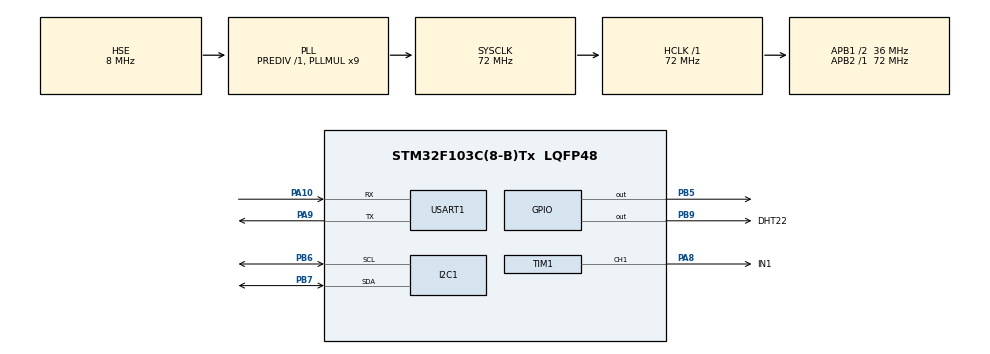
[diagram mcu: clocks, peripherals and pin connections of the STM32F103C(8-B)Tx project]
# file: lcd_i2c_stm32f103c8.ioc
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Mcu.Family=STM32F1
Mcu.Name=STM32F103C(8-B)Tx
Mcu.Package=LQFP48
NVIC.PriorityGroup=NVIC_PRIORITYGROUP_4
PA10.Mode=Asynchronous
PA10.Signal=USART1_RX
PA13.Mode=Serial_Wire
PA13.Signal=SYS_JTMS-SWDIO
PA14.Mode=Serial_Wire
PA14.Signal=SYS_JTCK-SWCLK
PA8.GPIO_Label=IN1
PA8.Signal=S_TIM1_CH1
PA9.Mode=Asynchronous
PA9.Signal=USART1_TX
PB5.Signal=GPIO_Output
PB6.GPIO_Mode=GPIO_MODE_AF_OD
PB6.Mode=I2C
PB6.Signal=I2C1_SCL
PB7.GPIO_Mode=GPIO_MODE_AF_OD
PB7.GPIO_Speed=GPIO_SPEED_FREQ_HIGH
PB7.Mode=I2C
PB7.Signal=I2C1_SDA
PB9.GPIO_Label=DHT22
PB9.Signal=GPIO_Output
PD0-OSC_IN.Mode=HSE-External-Oscillator
PD0-OSC_IN.Signal=RCC_OSC_IN
PD1-OSC_OUT.Mode=HSE-External-Oscillator
PD1-OSC_OUT.Signal=RCC_OSC_OUT
ProjectManager.HeapSize=0x200
ProjectManager.StackSize=0x400
ProjectManager.TargetToolchain=MDK-ARM V5
RCC.ADCPresc=RCC_ADCPCLK2_DIV6
RCC.AHBFreq_Value=72000000
RCC.APB1CLKDivider=RCC_HCLK_DIV2
RCC.APB1Freq_Value=36000000
RCC.APB1TimFreq_Value=72000000
RCC.APB2Freq_Value=72000000
RCC.APB2TimFreq_Value=72000000
RCC.HCLKFreq_Value=72000000
RCC.PLLMUL=RCC_PLL_MUL9
RCC.PLLSourceVirtual=RCC_PLLSOURCE_HSE
RCC.SYSCLKFreq_VALUE=72000000
RCC.SYSCLKSource=RCC_SYSCLKSOURCE_PLLCLK
RCC.USBFreq_Value=72000000
SH.S_TIM1_CH1.0=TIM1_CH1,PWM Generation1 CH1
TIM1.Channel-PWM\ Generation1\ CH1=TIM_CHANNEL_1
TIM1.Period=999
TIM1.Prescaler=79
TIM1.Pulse-PWM\ Generation1\ CH1=199
TIM2.Prescaler=71
USART1.VirtualMode=VM_ASYNC
VP_TIM1_VS_ClockSourceINT.Mode=Internal
VP_TIM2_VS_ClockSourceINT.Mode=Internal
board=custom

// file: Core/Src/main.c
/* USER CODE BEGIN Header */
/**
  ******************************************************************************
  * @file           : main.c
  * @brief          : Main program body
  ******************************************************************************
  * @attention
  *
  * Copyright (c) 2024 STMicroelectronics.
  * All rights reserved.
  *
  * This software is licensed under terms that can be found in the LICENSE file
  * in the root directory of this software component.
  * If no LICENSE file comes with this software, it is provided AS-IS.
  *
  ******************************************************************************
  */
/* USER CODE END Header */
#include "main.h"
#include "i2c-lcd.h"
#include "stm32f1xx.h"
#include "string.h"
#include "stdio.h"

I2C_HandleTypeDef hi2c1;

TIM_HandleTypeDef htim1;
TIM_HandleTypeDef htim2;

UART_HandleTypeDef huart1;
uint8_t RH1, RH2, TC1, TC2, SUM, CHECK;
uint32_t pMillis, cMillis;
float tCelsius = 0;
float tFahrenheit = 0;
float RH = 0;

void SystemClock_Config(void);
static void MX_GPIO_Init(void);
static void MX_I2C1_Init(void);
static void MX_TIM1_Init(void);
static void MX_USART1_UART_Init(void);
static void MX_TIM2_Init(void);

/* USER CODE BEGIN 0 */
void microDelay (uint16_t delay)
{
  __HAL_TIM_SET_COUNTER(&htim2, 0);
  while (__HAL_TIM_GET_COUNTER(&htim2) < delay);
}

// Khoi tao giao tiep voi DHT22
uint8_t DHT22_Start (void)
{
  uint8_t Response = 0;
  GPIO_InitTypeDef GPIO_InitStructPrivate = {0};
  GPIO_InitStructPrivate.Pin = DHT22_Pin;
  GPIO_InitStructPrivate.Mode = GPIO_MODE_OUTPUT_PP;
  GPIO_InitStructPrivate.Speed = GPIO_SPEED_FREQ_LOW;
  GPIO_InitStructPrivate.Pull = GPIO_NOPULL;
  HAL_GPIO_Init(DHT22_GPIO_Port, &GPIO_InitStructPrivate); // set the pin as output
  HAL_GPIO_WritePin (DHT22_GPIO_Port, DHT22_Pin, GPIO_PIN_RESET);   // pull the pin low
  microDelay (1800);   // wait for 1300us
  HAL_GPIO_WritePin (DHT22_GPIO_Port, DHT22_Pin, GPIO_PIN_SET);   // pull the pin high
  microDelay (30);   // wait for 30us
  GPIO_InitStructPrivate.Mode = GPIO_MODE_INPUT;
  GPIO_InitStructPrivate.Pull = GPIO_PULLUP;
  HAL_GPIO_Init(DHT22_GPIO_Port, &GPIO_InitStructPrivate); // set the pin as input
  microDelay (40);
  if (!(HAL_GPIO_ReadPin (DHT22_GPIO_Port, DHT22_Pin)))
  {
    microDelay (80);
    if ((HAL_GPIO_ReadPin (DHT22_GPIO_Port, DHT22_Pin))) Response = 1;
  }
  pMillis = HAL_GetTick();
  cMillis = HAL_GetTick();
  while ((HAL_GPIO_ReadPin (DHT22_GPIO_Port, DHT22_Pin)) && pMillis + 2 > cMillis)
  {
    cMillis = HAL_GetTick();
  }
  return Response;
}

uint8_t DHT22_Read (void)
{
  uint8_t a,b;
  for (a=0;a<8;a++)
  {
    pMillis = HAL_GetTick();
    cMillis = HAL_GetTick();
    while (!(HAL_GPIO_ReadPin (DHT22_GPIO_Port, DHT22_Pin)) && pMillis + 2 > cMillis)
    {  // wait for the pin to go high
      cMillis = HAL_GetTick();
    }
    microDelay (40);   // wait for 40 us
    if (!(HAL_GPIO_ReadPin (DHT22_GPIO_Port, DHT22_Pin)))   // if the pin is low
      b&= ~(1<<(7-a));
    else
      b|= (1<<(7-a));
    pMillis = HAL_GetTick();
    cMillis = HAL_GetTick();
    while ((HAL_GPIO_ReadPin (DHT22_GPIO_Port, DHT22_Pin)) && pMillis + 2 > cMillis)
    {  // wait for the pin to go low
      cMillis = HAL_GetTick();
    }
  }
  return b;
}

/* USER CODE END 0 */

int main(void)
{
	char buffer[50];

  /* MCU Configuration--------------------------------------------------------*/

  /* Reset of all peripherals, Initializes the Flash interface and the Systick. */
  HAL_Init();

  /* Configure the system clock */
  SystemClock_Config();

  /* Initialize all configured peripherals */
  MX_GPIO_Init();
  MX_I2C1_Init();
  MX_TIM1_Init();
  MX_USART1_UART_Init();
  MX_TIM2_Init();

	HAL_TIM_Base_Start(&htim2);
	HAL_TIM_PWM_Start(&htim1, TIM_CHANNEL_1);
  /* USER CODE BEGIN 2 */
	lcd_init();
  /* USER CODE END 2 */

  /* Infinite loop */
  while (1)
  {
		if(DHT22_Start())
    {
      RH1 = DHT22_Read(); // First 8bits of humidity
      RH2 = DHT22_Read(); // Second 8bits of Relative humidity
      TC1 = DHT22_Read(); // First 8bits of Celsius
      TC2 = DHT22_Read(); // Second 8bits of Celsius
      SUM = DHT22_Read(); // Check sum
      CHECK = RH1 + RH2 + TC1 + TC2;
      if (CHECK == SUM)
      {
        if (TC1>127) // If TC1=10000000, negative temperature
        {
          tCelsius = (float)TC2/10*(-1);
        }
        else
        {
          tCelsius = (float)((TC1<<8)|TC2)/10;
        }
        tFahrenheit = tCelsius * 9/5 + 32;
        RH = (float) ((RH1<<8)|RH2)/10;
      }
			if(tCelsius > 30){
				HAL_GPIO_WritePin(GPIOB, GPIO_PIN_5,GPIO_PIN_SET);
			}else{
				HAL_GPIO_WritePin(GPIOB, GPIO_PIN_5,GPIO_PIN_RESET);
			}
			if(tCelsius >30){
				__HAL_TIM_SET_COMPARE(&htim1,TIM_CHANNEL_1,899);
			}else if(tCelsius > 28){
				__HAL_TIM_SET_COMPARE(&htim1,TIM_CHANNEL_1,699);
			}else if(tCelsius > 20){
				__HAL_TIM_SET_COMPARE(&htim1,TIM_CHANNEL_1,499);
			}
			sprintf(buffer, "Temp: %.2f", tCelsius);
			HAL_UART_Transmit(&huart1, (uint8_t *)buffer, strlen(buffer), HAL_MAX_DELAY);
			lcd_put_cur(0,0);
			lcd_send_string(buffer);
			sprintf(buffer, "Hum: %.2f", RH);
			HAL_UART_Transmit(&huart1, (uint8_t *)buffer, strlen(buffer), HAL_MAX_DELAY);
			lcd_put_cur(1,0);
			lcd_send_string(buffer);
    }

		HAL_Delay(100);
  }
}

void SystemClock_Config(void)
{
  RCC_OscInitTypeDef RCC_OscInitStruct = {0};
  RCC_ClkInitTypeDef RCC_ClkInitStruct = {0};

  /** Initializes the RCC Oscillators according to the specified parameters
  * in the RCC_OscInitTypeDef structure.
  */
  RCC_OscInitStruct.OscillatorType = RCC_OSCILLATORTYPE_HSE;
  RCC_OscInitStruct.HSEState = RCC_HSE_ON;
  RCC_OscInitStruct.HSEPredivValue = RCC_HSE_PREDIV_DIV1;
  RCC_OscInitStruct.HSIState = RCC_HSI_ON;
  RCC_OscInitStruct.PLL.PLLState = RCC_PLL_ON;
  RCC_OscInitStruct.PLL.PLLSource = RCC_PLLSOURCE_HSE;
  RCC_OscInitStruct.PLL.PLLMUL = RCC_PLL_MUL9;
  if (HAL_RCC_OscConfig(&RCC_OscInitStruct) != HAL_OK)
  {
    Error_Handler();
  }

  /** Initializes the CPU, AHB and APB buses clocks
  */
  RCC_ClkInitStruct.ClockType = RCC_CLOCKTYPE_HCLK|RCC_CLOCKTYPE_SYSCLK
                              |RCC_CLOCKTYPE_PCLK1|RCC_CLOCKTYPE_PCLK2;
  RCC_ClkInitStruct.SYSCLKSource = RCC_SYSCLKSOURCE_PLLCLK;
  RCC_ClkInitStruct.AHBCLKDivider = RCC_SYSCLK_DIV1;
  RCC_ClkInitStruct.APB1CLKDivider = RCC_HCLK_DIV2;
  RCC_ClkInitStruct.APB2CLKDivider = RCC_HCLK_DIV1;

  if (HAL_RCC_ClockConfig(&RCC_ClkInitStruct, FLASH_LATENCY_2) != HAL_OK)
  {
    Error_Handler();
  }
}

static void MX_I2C1_Init(void)
{

  hi2c1.Instance = I2C1;
  hi2c1.Init.ClockSpeed = 100000;
  hi2c1.Init.DutyCycle = I2C_DUTYCYCLE_2;
  hi2c1.Init.OwnAddress1 = 0;
  hi2c1.Init.AddressingMode = I2C_ADDRESSINGMODE_7BIT;
  hi2c1.Init.DualAddressMode = I2C_DUALADDRESS_DISABLE;
  hi2c1.Init.OwnAddress2 = 0;
  hi2c1.Init.GeneralCallMode = I2C_GENERALCALL_DISABLE;
  hi2c1.Init.NoStretchMode = I2C_NOSTRETCH_DISABLE;
  if (HAL_I2C_Init(&hi2c1) != HAL_OK)
  {
    Error_Handler();
  }

}

static void MX_TIM1_Init(void)
{

  TIM_ClockConfigTypeDef sClockSourceConfig = {0};
  TIM_MasterConfigTypeDef sMasterConfig = {0};
  TIM_OC_InitTypeDef sConfigOC = {0};
  TIM_BreakDeadTimeConfigTypeDef sBreakDeadTimeConfig = {0};

  htim1.Instance = TIM1;
  htim1.Init.Prescaler = 79;
  htim1.Init.CounterMode = TIM_COUNTERMODE_UP;
  htim1.Init.Period = 999;
  htim1.Init.ClockDivision = TIM_CLOCKDIVISION_DIV1;
  htim1.Init.RepetitionCounter = 0;
  htim1.Init.AutoReloadPreload = TIM_AUTORELOAD_PRELOAD_DISABLE;
  if (HAL_TIM_Base_Init(&htim1) != HAL_OK)
  {
    Error_Handler();
  }
  sClockSourceConfig.ClockSource = TIM_CLOCKSOURCE_INTERNAL;
  if (HAL_TIM_ConfigClockSource(&htim1, &sClockSourceConfig) != HAL_OK)
  {
    Error_Handler();
  }
  if (HAL_TIM_PWM_Init(&htim1) != HAL_OK)
  {
    Error_Handler();
  }
  sMasterConfig.MasterOutputTrigger = TIM_TRGO_RESET;
  sMasterConfig.MasterSlaveMode = TIM_MASTERSLAVEMODE_DISABLE;
  if (HAL_TIMEx_MasterConfigSynchronization(&htim1, &sMasterConfig) != HAL_OK)
  {
    Error_Handler();
  }
  sConfigOC.OCMode = TIM_OCMODE_PWM1;
  sConfigOC.Pulse = 199;
  sConfigOC.OCPolarity = TIM_OCPOLARITY_HIGH;
  sConfigOC.OCNPolarity = TIM_OCNPOLARITY_HIGH;
  sConfigOC.OCFastMode = TIM_OCFAST_DISABLE;
  sConfigOC.OCIdleState = TIM_OCIDLESTATE_RESET;
  sConfigOC.OCNIdleState = TIM_OCNIDLESTATE_RESET;
  if (HAL_TIM_PWM_ConfigChannel(&htim1, &sConfigOC, TIM_CHANNEL_1) != HAL_OK)
  {
    Error_Handler();
  }
  sBreakDeadTimeConfig.OffStateRunMode = TIM_OSSR_DISABLE;
  sBreakDeadTimeConfig.OffStateIDLEMode = TIM_OSSI_DISABLE;
  sBreakDeadTimeConfig.LockLevel = TIM_LOCKLEVEL_OFF;
  sBreakDeadTimeConfig.DeadTime = 0;
  sBreakDeadTimeConfig.BreakState = TIM_BREAK_DISABLE;
  sBreakDeadTimeConfig.BreakPolarity = TIM_BREAKPOLARITY_HIGH;
  sBreakDeadTimeConfig.AutomaticOutput = TIM_AUTOMATICOUTPUT_DISABLE;
  if (HAL_TIMEx_ConfigBreakDeadTime(&htim1, &sBreakDeadTimeConfig) != HAL_OK)
  {
    Error_Handler();
  }
  HAL_TIM_MspPostInit(&htim1);

}

static void MX_TIM2_Init(void)
{

  TIM_ClockConfigTypeDef sClockSourceConfig = {0};
  TIM_MasterConfigTypeDef sMasterConfig = {0};

  htim2.Instance = TIM2;
  htim2.Init.Prescaler = 71;
  htim2.Init.CounterMode = TIM_COUNTERMODE_UP;
  htim2.Init.Period = 65535;
  htim2.Init.ClockDivision = TIM_CLOCKDIVISION_DIV1;
  htim2.Init.AutoReloadPreload = TIM_AUTORELOAD_PRELOAD_DISABLE;
  if (HAL_TIM_Base_Init(&htim2) != HAL_OK)
  {
    Error_Handler();
  }
  sClockSourceConfig.ClockSource = TIM_CLOCKSOURCE_INTERNAL;
  if (HAL_TIM_ConfigClockSource(&htim2, &sClockSourceConfig) != HAL_OK)
  {
    Error_Handler();
  }
  sMasterConfig.MasterOutputTrigger = TIM_TRGO_RESET;
  sMasterConfig.MasterSlaveMode = TIM_MASTERSLAVEMODE_DISABLE;
  if (HAL_TIMEx_MasterConfigSynchronization(&htim2, &sMasterConfig) != HAL_OK)
  {
    Error_Handler();
  }

}

static void MX_USART1_UART_Init(void)
{

  huart1.Instance = USART1;
  huart1.Init.BaudRate = 115200;
  huart1.Init.WordLength = UART_WORDLENGTH_8B;
  huart1.Init.StopBits = UART_STOPBITS_1;
  huart1.Init.Parity = UART_PARITY_NONE;
  huart1.Init.Mode = UART_MODE_TX_RX;
  huart1.Init.HwFlowCtl = UART_HWCONTROL_NONE;
  huart1.Init.OverSampling = UART_OVERSAMPLING_16;
  if (HAL_UART_Init(&huart1) != HAL_OK)
  {
    Error_Handler();
  }

}

static void MX_GPIO_Init(void)
{
  GPIO_InitTypeDef GPIO_InitStruct = {0};

  /* GPIO Ports Clock Enable */
  __HAL_RCC_GPIOD_CLK_ENABLE();
  __HAL_RCC_GPIOA_CLK_ENABLE();
  __HAL_RCC_GPIOB_CLK_ENABLE();

  /*Configure GPIO pin Output Level */
  HAL_GPIO_WritePin(GPIOB, GPIO_PIN_5|DHT22_Pin, GPIO_PIN_RESET);

  /*Configure GPIO pins : PB5 DHT22_Pin */
  GPIO_InitStruct.Pin = GPIO_PIN_5|DHT22_Pin;
  GPIO_InitStruct.Mode = GPIO_MODE_OUTPUT_PP;
  GPIO_InitStruct.Pull = GPIO_NOPULL;
  GPIO_InitStruct.Speed = GPIO_SPEED_FREQ_LOW;
  HAL_GPIO_Init(GPIOB, &GPIO_InitStruct);

}

void Error_Handler(void)
{
  __disable_irq();
  while (1)
  {
  }
}
